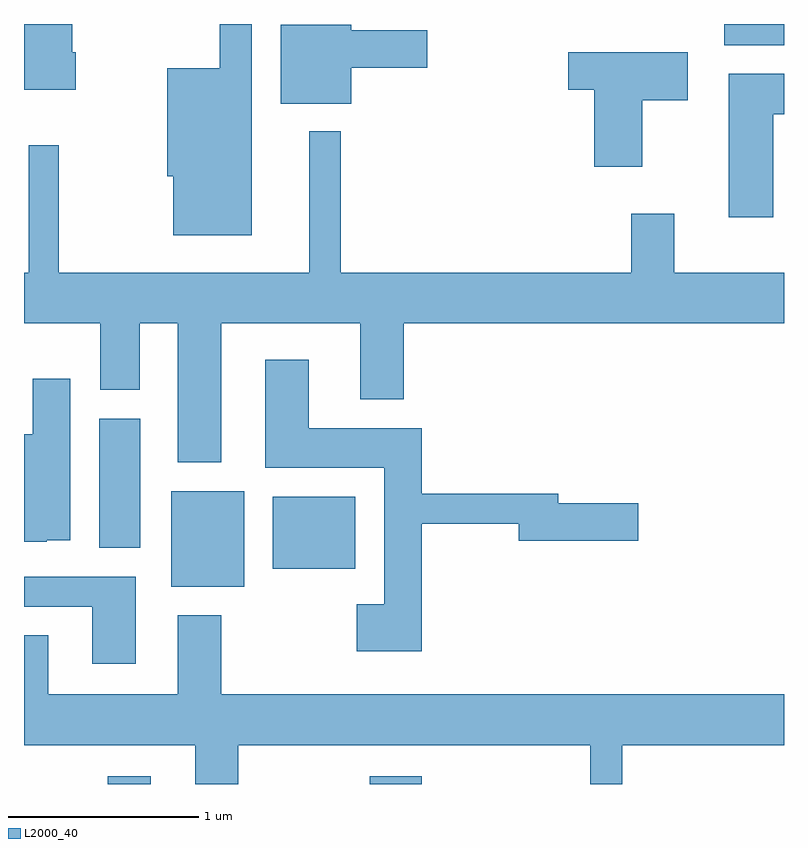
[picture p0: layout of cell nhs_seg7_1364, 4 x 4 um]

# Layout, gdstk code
import gdstk
lib = gdstk.Library(unit=1e-6, precision=1e-09)
def R(c, l, rs):  # rectangles x0, y0, x1, y1
    for r in rs: c.add(gdstk.rectangle(r[:2], r[2:], *l))
def P(c, l, *ps):  # polygons
    for p in ps: c.add(gdstk.Polygon(p, *l))
L2000_40 = (2000, 40)

nhs_seg7_1364 = lib.new_cell('nhs_seg7_1364')
R(nhs_seg7_1364, L2000_40, [(226.051,1796.252,226.279,1796.294), (227.431,1796.252,227.704,1796.294), (226.386,1797.291,226.769,1797.794), (226.921,1797.386,227.354,1797.764), (226.006,1797.496,226.224,1798.174), (229.296,1800.141,229.611,1800.252)])
P(nhs_seg7_1364, L2000_40, [(226.809,1800.252),(226.641,1800.252),(226.641,1800.019),(226.366,1800.019),(226.366,1799.451),(226.396,1799.451),(226.396,1799.141),(226.809,1799.141)],
  [(225.884,1800.104),(225.864,1800.104),(225.864,1800.252),(225.611,1800.252),(225.611,1799.906),(225.884,1799.906)],
  [(227.334,1800.021),(227.734,1800.021),(227.734,1800.219),(227.334,1800.219),(227.334,1800.249),(226.961,1800.249),(226.961,1799.831),(227.334,1799.831)],
  [(228.864,1799.851),(229.104,1799.851),(229.104,1800.104),(228.476,1800.104),(228.476,1799.906),(228.611,1799.906),(228.611,1799.501),(228.864,1799.501)],
  [(229.554,1799.776),(229.611,1799.776),(229.611,1799.989),(229.321,1799.989),(229.321,1799.236),(229.554,1799.236)],
  [(227.381,1798.276),(227.609,1798.276),(227.609,1798.676),(229.611,1798.676),(229.611,1798.944),(229.034,1798.944),(229.034,1799.254),(228.806,1799.254),(228.806,1798.944),(227.279,1798.944),(227.279,1799.688),(227.111,1799.688),(227.111,1798.944),(225.794,1798.944),(225.794,1799.613),(225.636,1799.613),(225.636,1798.944),(225.611,1798.944),(225.611,1798.676),(226.011,1798.676),(226.011,1798.326),(226.219,1798.326),(226.219,1798.676),(226.421,1798.676),(226.421,1797.946),(226.649,1797.946),(226.649,1798.676),(227.381,1798.676)],
  [(227.704,1797.621),(228.216,1797.621),(228.216,1797.531),(228.844,1797.531),(228.844,1797.729),(228.424,1797.729),(228.424,1797.779),(227.704,1797.779),(227.704,1798.124),(227.109,1798.124),(227.109,1798.484),(226.881,1798.484),(226.881,1797.916),(227.506,1797.916),(227.506,1797.199),(227.361,1797.199),(227.361,1796.951),(227.704,1796.951)],
  [(225.73,1797.536),(225.854,1797.536),(225.854,1798.384),(225.656,1798.384),(225.656,1798.094),(225.611,1798.094),(225.611,1797.526),(225.73,1797.526)],
  [(226.199,1797.344),(225.611,1797.344),(225.611,1797.186),(225.971,1797.186),(225.971,1796.886),(226.199,1796.886)],
  [(226.739,1796.456),(228.591,1796.456),(228.591,1796.252),(228.759,1796.252),(228.759,1796.456),(229.611,1796.456),(229.611,1796.724),(226.649,1796.724),(226.649,1797.139),(226.421,1797.139),(226.421,1796.724),(225.739,1796.724),(225.739,1797.034),(225.611,1797.034),(225.611,1796.456),(226.511,1796.456),(226.511,1796.252),(226.739,1796.252)])

lib.write_gds('nhs_seg7_1364.gds')
